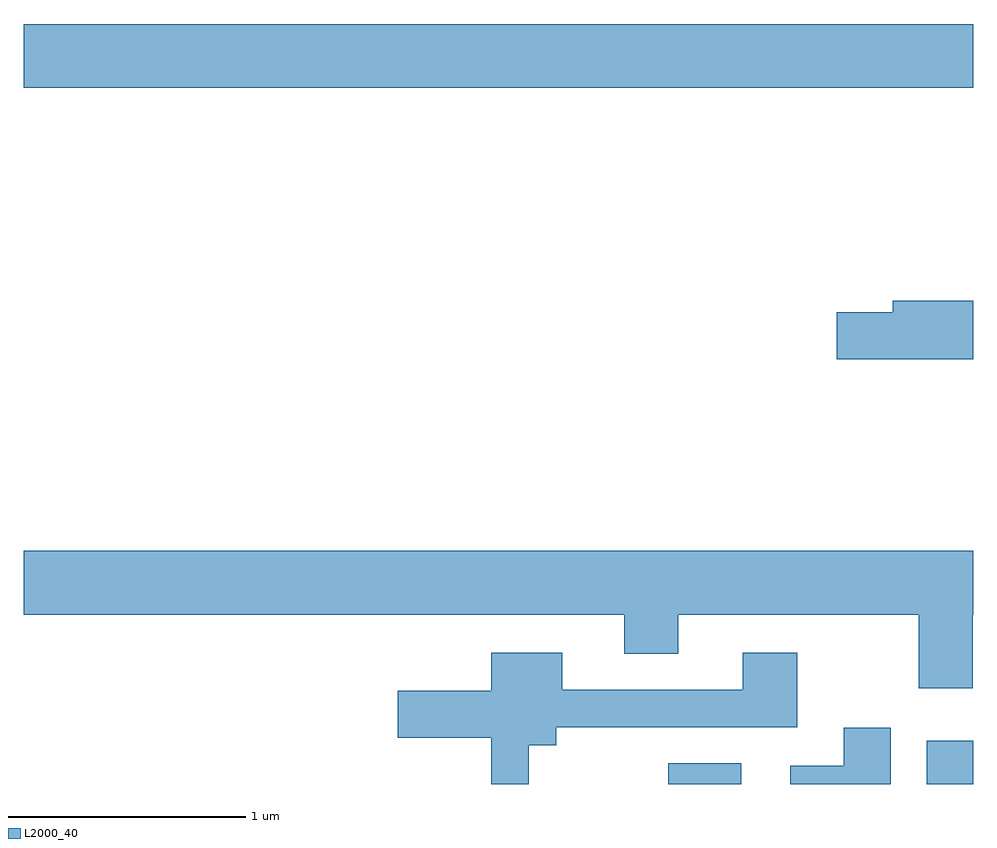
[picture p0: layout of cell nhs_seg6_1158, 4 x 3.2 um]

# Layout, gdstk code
import gdstk
lib = gdstk.Library(unit=1e-6, precision=1e-09)
def R(c, l, rs):  # rectangles x0, y0, x1, y1
    for r in rs: c.add(gdstk.rectangle(r[:2], r[2:], *l))
def P(c, l, *ps):  # polygons
    for p in ps: c.add(gdstk.Polygon(p, *l))
L2000_40 = (2000, 40)

nhs_seg6_1158 = lib.new_cell('nhs_seg6_1158')
R(nhs_seg6_1158, L2000_40, [(222.326,1598.162,222.634,1598.249), (223.416,1598.162,223.611,1598.344), (219.611,1601.096,223.611,1601.364)])
P(nhs_seg6_1158, L2000_40, [(223.611,1600.199),(223.271,1600.199),(223.271,1600.149),(223.036,1600.149),(223.036,1599.951),(223.611,1599.951)],
  [(223.609,1598.876),(223.611,1598.876),(223.611,1599.144),(219.611,1599.144),(219.611,1598.876),(222.141,1598.876),(222.141,1598.711),(222.369,1598.711),(222.369,1598.876),(223.381,1598.876),(223.381,1598.566),(223.609,1598.566)],
  [(221.739,1598.326),(221.854,1598.326),(221.854,1598.401),(222.869,1598.401),(222.869,1598.714),(222.641,1598.714),(222.641,1598.559),(221.879,1598.559),(221.879,1598.714),(221.581,1598.714),(221.581,1598.554),(221.186,1598.554),(221.186,1598.356),(221.581,1598.356),(221.581,1598.162),(221.739,1598.162)],
  [(223.264,1598.399),(223.066,1598.399),(223.066,1598.239),(222.841,1598.239),(222.841,1598.162),(223.264,1598.162)])

lib.write_gds('nhs_seg6_1158.gds')
